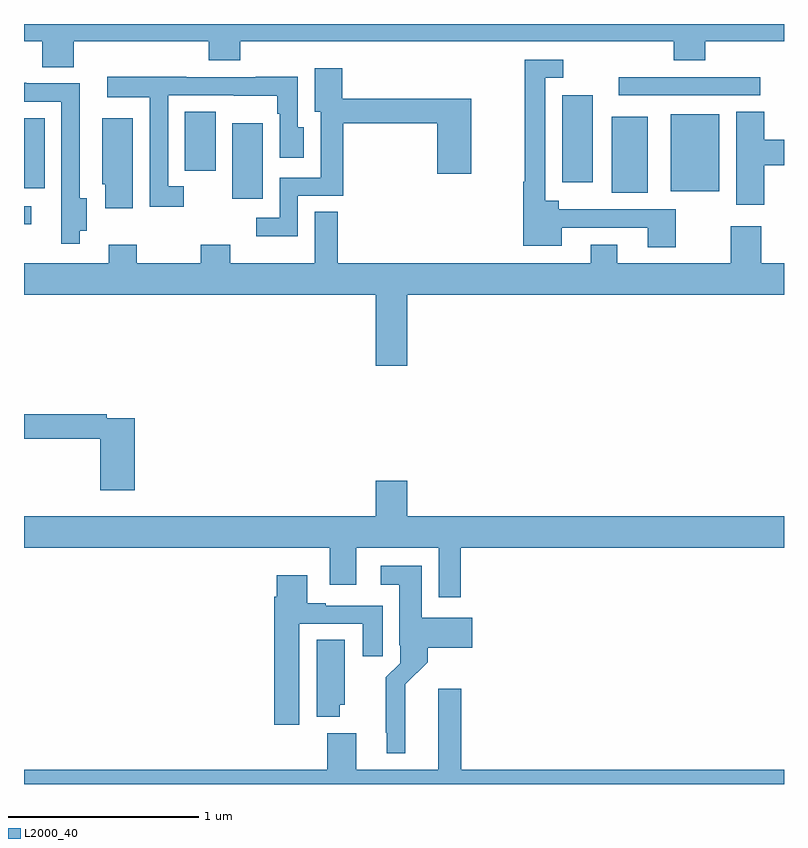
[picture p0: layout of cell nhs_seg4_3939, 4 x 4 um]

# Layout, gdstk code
import gdstk
lib = gdstk.Library(unit=1e-6, precision=1e-09)
def R(c, l, rs):  # rectangles x0, y0, x1, y1
    for r in rs: c.add(gdstk.rectangle(r[:2], r[2:], *l))
def P(c, l, *ps):  # polygons
    for p in ps: c.add(gdstk.Polygon(p, *l))
L2000_40 = (2000, 40)

nhs_seg4_3939 = lib.new_cell('nhs_seg4_3939')
R(nhs_seg4_3939, L2000_40, [(319,807.845,319.039,807.942), (320.096,807.98,320.257,808.378), (322.094,808.013,322.282,808.411), (322.403,808.019,322.66,808.426), (319,808.035,319.108,808.405), (321.833,808.068,321.994,808.525), (319.847,808.128,320.008,808.439), (322.131,808.524,322.876,808.62)])
P(nhs_seg4_3939, L2000_40, [(322.421,808.709),(322.586,808.709),(322.586,808.808),(323,808.808),(323,808.9),(319,808.9),(319,808.808),(319.097,808.808),(319.097,808.672),(319.262,808.672),(319.262,808.808),(319.973,808.808),(319.973,808.709),(320.138,808.709),(320.138,808.808),(322.421,808.808)],
  [(322.431,807.924),(321.814,807.924),(321.814,807.97),(321.744,807.97),(321.744,808.617),(321.838,808.617),(321.838,808.713),(321.636,808.713),(321.636,808.07),(321.628,808.07),(321.628,807.734),(321.829,807.734),(321.829,807.828),(322.283,807.828),(322.283,807.726),(322.431,807.726)],
  [(320.442,807.996),(320.68,807.996),(320.68,808.378),(321.176,808.378),(321.176,808.113),(321.354,808.113),(321.354,808.507),(320.675,808.507),(320.675,808.666),(320.531,808.666),(320.531,808.437),(320.561,808.437),(320.561,808.092),(320.346,808.092),(320.346,807.879),(320.223,807.879),(320.223,807.782),(320.442,807.782)],
  [(319.84,808.047),(319.758,808.047),(319.758,808.524),(320.104,808.524),(320.104,808.523),(320.334,808.523),(320.334,808.427),(320.346,808.427),(320.346,808.197),(320.473,808.197),(320.473,808.356),(320.442,808.356),(320.442,808.622),(320.221,808.622),(320.221,808.62),(319.855,808.62),(319.855,808.622),(319.437,808.622),(319.437,808.514),(319.662,808.514),(319.662,807.939),(319.84,807.939)],
  [(319.294,807.812),(319.33,807.812),(319.33,807.983),(319.293,807.983),(319.293,808.587),(319.013,808.587),(319.013,808.59),(319,808.59),(319,808.491),(319.197,808.491),(319.197,807.966),(319.196,807.966),(319.196,807.744),(319.294,807.744)],
  [(322.895,808.156),(323,808.156),(323,808.292),(322.895,808.292),(322.895,808.439),(322.748,808.439),(322.748,807.948),(322.895,807.948)],
  [(319.573,808.405),(319.412,808.405),(319.412,808.056),(319.427,808.056),(319.427,807.93),(319.573,807.93)],
  [(321.016,807.476),(323,807.476),(323,807.64),(322.88,807.64),(322.88,807.835),(322.72,807.835),(322.72,807.64),(322.123,807.64),(322.123,807.739),(321.983,807.739),(321.983,807.64),(320.65,807.64),(320.65,807.911),(320.531,807.911),(320.531,807.64),(320.085,807.64),(320.085,807.739),(319.93,807.739),(319.93,807.64),(319.593,807.64),(319.593,807.739),(319.445,807.739),(319.445,807.64),(319,807.64),(319,807.476),(320.852,807.476),(320.852,807.102),(321.016,807.102)],
  [(319.583,806.826),(319.436,806.826),(319.436,806.846),(319,806.846),(319,806.718),(319.4,806.718),(319.4,806.445),(319.583,806.445)],
  [(321.299,806.144),(323,806.144),(323,806.308),(321.016,806.308),(321.016,806.497),(320.852,806.497),(320.852,806.308),(319,806.308),(319,806.144),(320.609,806.144),(320.609,805.95),(320.749,805.95),(320.749,806.144),(321.183,806.144),(321.183,805.884),(321.299,805.884)],
  [(321.007,805.424),(321.125,805.542),(321.125,805.616),(321.358,805.616),(321.358,805.774),(321.094,805.774),(321.094,806.05),(320.877,806.05),(320.877,805.949),(320.975,805.949),(320.975,805.63),(320.979,805.63),(320.979,805.536),(320.905,805.462),(320.905,805.171),(320.909,805.171),(320.909,805.061),(321.007,805.061)],
  [(320.449,805.743),(320.783,805.743),(320.783,805.572),(320.887,805.572),(320.887,805.839),(320.587,805.839),(320.587,805.852),(320.491,805.852),(320.491,805.999),(320.33,805.999),(320.33,805.886),(320.318,805.886),(320.318,805.212),(320.449,805.212)],
  [(320.662,805.317),(320.689,805.317),(320.689,805.658),(320.54,805.658),(320.54,805.253),(320.662,805.253)],
  [(323,804.976),(321.302,804.976),(321.302,805.402),(321.179,805.402),(321.179,804.976),(320.749,804.976),(320.749,805.168),(320.597,805.168),(320.597,804.976),(319,804.976),(319,804.9),(323,804.9)])

lib.write_gds('nhs_seg4_3939.gds')
